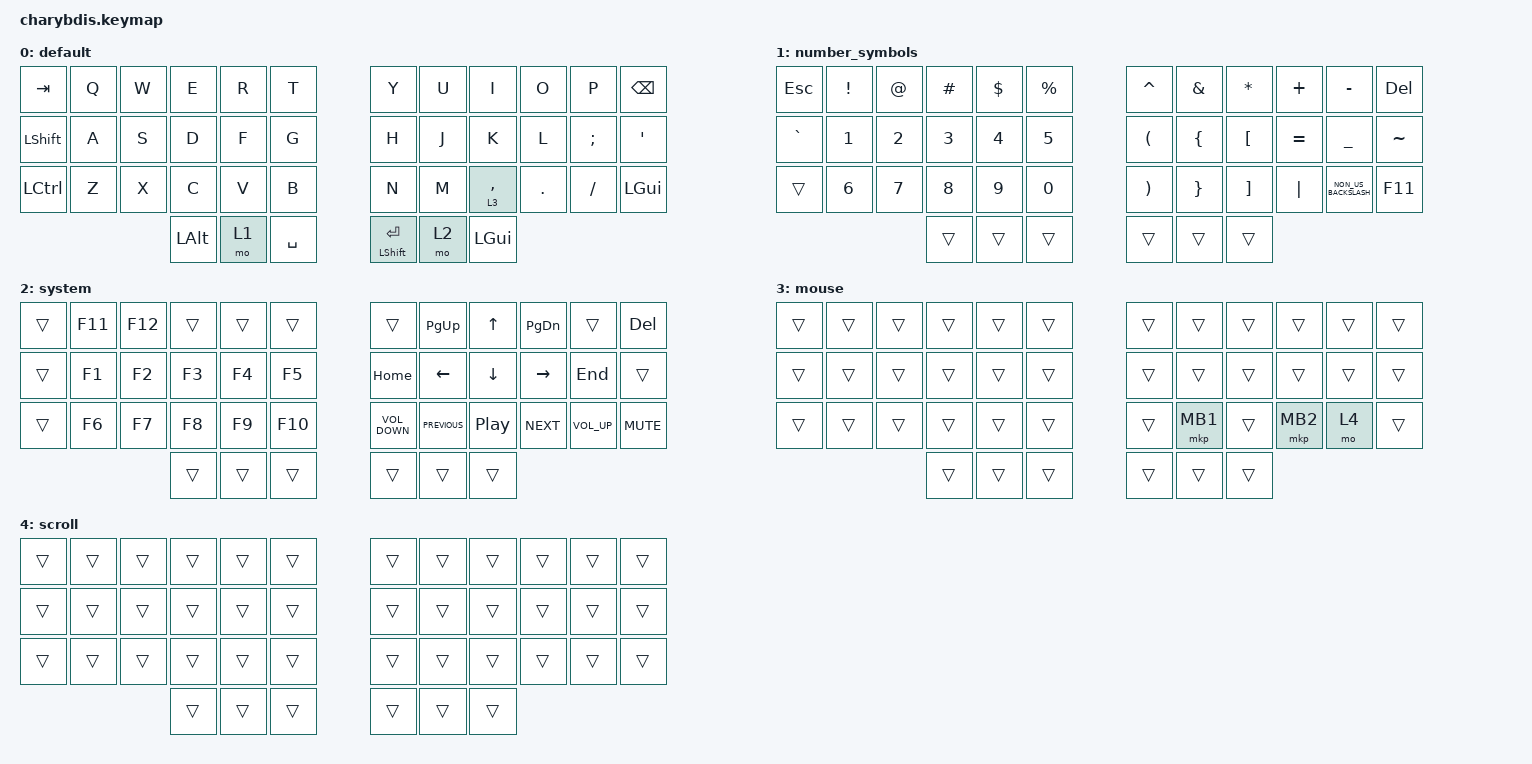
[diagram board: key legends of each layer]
#include <behaviors.dtsi>
#include <dt-bindings/zmk/bt.h>
#include <dt-bindings/zmk/keys.h>
#include <dt-bindings/zmk/mouse.h>
#include <dt-bindings/zmk/outputs.h>
#include <behaviors/mouse_keys.dtsi>
#include <dt-bindings/zmk/ext_power.h>
#include "macros.dtsi"
#include "behaviors.dtsi"
#include "combos.dtsi"

/ {
    /* input config for mouse move mode */
    trackball_listener {
        compatible = "zmk,input-behavior-listener";
        device = <&vtrackball>;
        layers = <0 1 2 3 4 5 6 7 8 9>;
        evt-type = <INPUT_EV_REL>;
        x-input-code = <INPUT_REL_X>;
        y-input-code = <INPUT_REL_Y>;
        scale-multiplier = <4>;
        scale-divisor = <5>;
        // bindings = <&ib_toggle_layer 7>;
    };

    /* input config for snipe mode */
    trackball_snipe_listener {
        compatible = "zmk,input-behavior-listener";   
        device = <&vtrackball>;
        layers = <3>;
        evt-type = <INPUT_EV_REL>;
        x-input-code = <INPUT_REL_X>;
        y-input-code = <INPUT_REL_Y>;
        scale-multiplier = <1>;
        scale-divisor = <6>;
    };

    /* input config for mouse scroll mode */
    trackball_scroll_listener {
        compatible = "zmk,input-behavior-listener";
        device = <&vtrackball>;
        layers = <4>;
        evt-type = <INPUT_EV_REL>;            
        x-input-code = <INPUT_REL_MISC>;
        y-input-code = <INPUT_REL_WHEEL>;
        y-invert;
        bindings = <&ib_wheel_scaler 1 14>;
    };

    /* define a resolution down scaler only for INPUT_REL_WHEEL */
    ib_wheel_scaler: ib_wheel_scaler {
        compatible = "zmk,input-behavior-scaler";
        #binding-cells = <2>;
        evt-type = <INPUT_EV_REL>;
        input-code = <INPUT_REL_WHEEL>;
    };

    /* adjust cooldown waiting period for mouse key layer after activated */
    ib_toggle_layer: ib_toggle_layer {
        compatible = "zmk,input-behavior-tog-layer";
        #binding-cells = <1>;
        time-to-live-ms = <750>;
    };
// ╭──────┬──────┬──────┬──────┬──────┬──────╮  ╭──────┬──────┬──────┬──────┬──────┬──────╮
//    00     01     02     03    04      05        06     07     08     09     10     11
// ├──────┼──────┼──────┼──────┼──────┼──────┤  ├──────┼──────┼──────┼──────┼──────┼──────┤
//    12     13     14     15    16      17        18     19     20     21     22     23
// ├──────┼──────┼──────┼──────┼──────┼──────┤  ├──────┼──────┼──────┼──────┼──────┼──────┤
//    24     25     26     27    28      29        30     31     32     33     34     35
// ╰──────┴──────┴──────┼──────┼──────┼──────┤  ├──────┼──────┼──────┴──────┴──────┴──────╯
//                         36     37     38        39     40
//                      ╰──────┴──────┴──────╯  ╰──────┴──────╯
// #define BASE    0
// #define NUM     1
// #define NAV     2
// #define SYM     3
// #define GAME    4
// #define PHOTOS  5
// #define EXTRAS  6
// #define MOUSE   7
// #define SLOW    8
// #define SCROLL  9

        keymap {
        compatible = "zmk,keymap";

        default {
            // ------------------------------------------------------------------------------------------------
            //| LGUI/] |  Q  |  W  |  E  |  R  |  T  |   |  Y  |  U   |  I  |  O  |  P  | RGUI/[ | 
            //| CTRL/` |  A  |  S  |  D  |  F  |  G  |   |  H  |  J   |  K  |  L  |  ;  | CTRL/' |
            //| LALT/\ |  Z  |  X  |  C  |  V  |  B  |   |  N  |  M   |  ,  |  .  |  /  | RALT/- |
            //                             | RSE | SPC | LWR |   | LWR | BKSP | RSE |

            bindings = <
&kp TAB         &kp Q  &kp W  &kp E         &kp R  &kp T        &kp Y            &kp U  &kp I         &kp O    &kp P            &kp BACKSPACE
&kp LEFT_SHIFT  &kp A  &kp S  &kp D         &kp F  &kp G        &kp H            &kp J  &kp K         &kp L    &kp SEMICOLON  &kp SINGLE_QUOTE
&kp LCTRL       &kp Z  &kp X  &kp C         &kp V  &kp B        &kp N            &kp M  &lt 3 COMMA   &kp DOT  &kp FSLH         &kp LEFT_GUI
                              &kp LEFT_ALT  &mo 1  &kp SPACE    &mt LSHFT ENTER  &mo 2  &kp LEFT_GUI
            >;
        };

        number_symbols {
            // -----------------------------------------------------------------------------------------
            //|LGUI/CAPS |  *  |  7 |  8  |  9  |  +  |    |  !  |  @  |  #  |  $  |  %  | RGUI/F1 |
            //|CTRL/MENU |  /  |  4 |  5  |  6  |  -  |    |  ^  |  &  |  *  |  (  |  )  | CTRL/F2 |
            //|  LALT/=  |  0  |  1 |  4  |  3  |  .  |    |  ls |  F4 |  F5 |  F6 |  F7 | RALT/F3 |
            //                      | ADJ | ___ | ___ |    | ___ | ___ | ADJ |

            bindings = <
&kp ESC    &kp EXCLAMATION  &kp AT_SIGN   &kp HASH      &kp DOLLAR    &kp PERCENT     &kp CARET              &kp AMPERSAND    &kp ASTERISK       &kp PLUS   &kp MINUS             &kp DELETE
&kp GRAVE  &kp NUMBER_1     &kp NUMBER_2  &kp NUMBER_3  &kp NUMBER_4  &kp NUMBER_5    &kp LEFT_PARENTHESIS   &kp LEFT_BRACE   &kp LEFT_BRACKET   &kp EQUAL  &kp UNDERSCORE        &kp TILDE
&trans     &kp NUMBER_6     &kp NUMBER_7  &kp NUMBER_8  &kp NUMBER_9  &kp NUMBER_0    &kp RIGHT_PARENTHESIS  &kp RIGHT_BRACE  &kp RIGHT_BRACKET  &kp PIPE   &kp NON_US_BACKSLASH  &kp F11
                                          &trans        &trans        &trans          &trans                 &trans           &trans
            >;
        };

        system {
            // -----------------------------------------------------------------------------------------
            //| LGUI |  VOLU  |  PGUP  | PLAY | HOME | ___  |            | ___  | HOME | PLAY| PGUP | VOLU | RGUI |
            //| CTRL |  VOLD  |  LEFT  |  UP  | DOWN | RGHT |            | RGHT | DOWN | UP  | LEFT | VOLD | CTRL | 
            //| LALT |  MUTE  |  PGDN  |  ___ | END  | ___  |            | ___  | END  | ___ | PGDN | MUTE | RALT |
            //                          | ___ | ___  | ADJ  |            | ADJ  | ___  | ___ |

            bindings = <
&trans  &kp F11  &kp F12  &trans  &trans  &trans     &trans             &kp PAGE_UP     &kp UP_ARROW      &kp PAGE_DOWN  &trans           &kp DELETE
&trans  &kp F1   &kp F2   &kp F3  &kp F4  &kp F5     &kp HOME           &kp LEFT        &kp DOWN          &kp RIGHT      &kp END          &trans
&trans  &kp F6   &kp F7   &kp F8  &kp F9  &kp F10    &kp C_VOLUME_DOWN  &kp C_PREVIOUS  &kp C_PLAY_PAUSE  &kp C_NEXT     &kp C_VOLUME_UP  &kp K_MUTE
                          &trans  &trans  &trans     &trans             &trans          &trans
            >;
        };

        mouse {
            bindings = <
&trans  &trans  &trans  &trans  &trans  &trans    &trans  &trans    &trans    &trans    &trans  &trans
&trans  &trans  &trans  &trans  &trans  &trans    &trans  &trans    &trans    &trans  &trans  &trans
&trans  &trans  &trans  &trans  &trans  &trans    &trans  &mkp MB1  &trans  &mkp MB2    &mo 4  &trans
                        &trans  &trans  &trans    &trans  &trans    &trans
            >;
        };

        scroll {
            bindings = <
&trans  &trans  &trans  &trans  &trans  &trans    &trans  &trans  &trans  &trans  &trans  &trans
&trans  &trans  &trans  &trans  &trans  &trans    &trans  &trans  &trans  &trans  &trans  &trans
&trans  &trans  &trans  &trans  &trans  &trans    &trans  &trans  &trans  &trans  &trans  &trans
                        &trans  &trans  &trans    &trans  &trans  &trans
            >;
        };
    };
};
